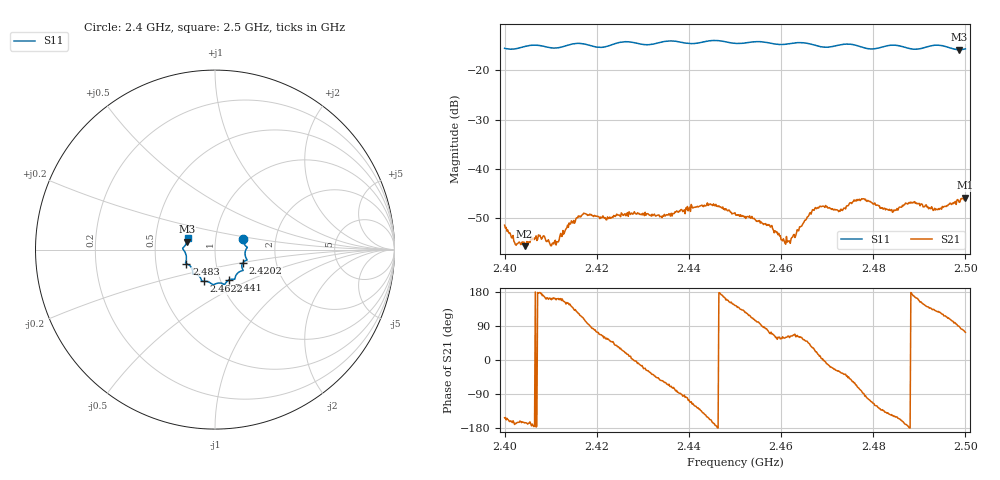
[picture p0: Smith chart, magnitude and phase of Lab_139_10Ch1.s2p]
# Hz S RI R 50
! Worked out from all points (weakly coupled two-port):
!   601 points, 2.4 GHz to 2.5 GHz, reference 50 ohm
!   highest |S21| = -45.86 dB at 2.5 GHz (marker M1); lowest = -55.7 dB at 2.4043 GHz (marker M2)
!   lowest |S11| = -15.8 dB at 2.4987 GHz (marker M3), VSWR 1.39, Z = 36.4 + j3.32 ohm
!   |S11| at or under -10 dB: start of sweep to end of sweep
!   S12 and S22 are empty: the file has one direction only
!   S11 on the Smith chart (normalised r, x): 2.4 GHz: 1.36, +0.17; 2.4202 GHz: 1.35, -0.20; 2.441 GHz: 1.09, -0.39; 2.4622 GHz: 0.83, -0.30; 2.483 GHz: 0.72, -0.12; 2.5 GHz: 0.73, +0.09
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2.4e9  0.1561 0.0599  -0.00237 -0.00124  0 0  0 0
2.4025e9  0.1632 0.0308  -0.00163 -0.00036  0 0  0 0
2.404333e9  0.1734 0.0179  -0.00159 -0.00039  0 0  0 0
2.407833e9  0.1774 0.0091  -0.00201 0.000166  0 0  0 0
2.411167e9  0.1672 -0.021  -0.00157 0.000608  0 0  0 0
2.416667e9  0.1778 -0.0582  -0.00139 0.00303  0 0  0 0
2.420167e9  0.1557 -0.0719  0.000982 0.00313  0 0  0 0
2.433333e9  0.1132 -0.1526  0.00231 -0.00246  0 0  0 0
2.441e9  0.0765 -0.1704  -0.00187 -0.00358  0 0  0 0
2.445333e9  0.0535 -0.1937  -0.00429 -0.000976  0 0  0 0
2.45e9  0.0264 -0.1861  -0.00289 0.00211  0 0  0 0
2.4605e9  -0.0484 -0.1769  0.00101 0.00167  0 0  0 0
2.462167e9  -0.0634 -0.1764  0.00087 0.00174  0 0  0 0
2.466667e9  -0.0766 -0.1668  0.00303 0.00206  0 0  0 0
2.472833e9  -0.1201 -0.1362  0.00315 -0.00196  0 0  0 0
2.477833e9  -0.1256 -0.115  0.000201 -0.00496  0 0  0 0
2.483e9  -0.1594 -0.0782  -0.003 -0.00246  0 0  0 0
2.483333e9  -0.1609 -0.0773  -0.00299 -0.00234  0 0  0 0
2.4885e9  -0.1593 -0.0414  -0.00446 0.000564  0 0  0 0
2.4935e9  -0.1799 0.00497  -0.00246 0.00291  0 0  0 0
2.498667e9  -0.1556 0.0444  0.000127 0.00455  0 0  0 0
2.5e9  -0.1528 0.0631  0.00147 0.00487  0 0  0 0
